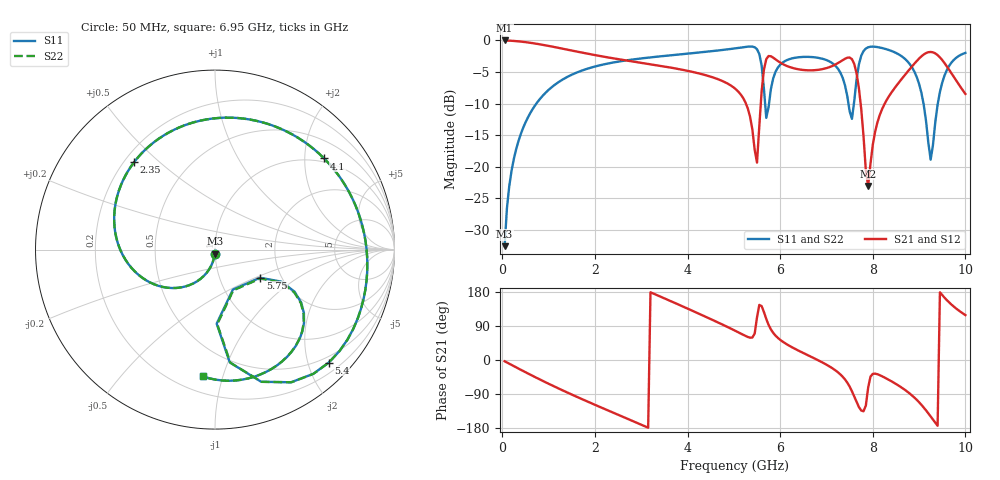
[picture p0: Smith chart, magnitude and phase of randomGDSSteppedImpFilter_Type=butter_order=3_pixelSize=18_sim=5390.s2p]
! freq	dB(S11)	phase(S11)	dB(S12)	phase(S12)
!  dB(S21)	phase(S21)	dB(S22)	phase(S22)
!S-par simulation data
#  GHz  S  DB  R 50
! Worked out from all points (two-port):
!   200 points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, 50 MHz to 10 GHz, reference 50 ohm
!   highest |S21| = -0.01 dB at 50 MHz (marker M1); lowest = -23.0 dB at 7.9 GHz (marker M2)
!   |S21| within 3 dB of the highest: start of sweep to 2.538 GHz; 8.982 GHz to 9.488 GHz (506.2 MHz wide, 5.48 % of centre) (the widest 2 of 4)
!   lowest |S11| = -32.6 dB at 50 MHz (marker M3), VSWR 1.05, Z = 49.8 - j2.34 ohm
!   |S11| at or under -10 dB: start of sweep to 736 MHz; 5.675 GHz to 5.76 GHz (84.63 MHz wide, 1.48 % of centre); 9.095 GHz to 9.404 GHz (308.8 MHz wide, 3.34 % of centre) (the widest 3 of 4)
!   |S22| runs from -32.6 to -1.0 dB; largest |S21 - S12| = 0
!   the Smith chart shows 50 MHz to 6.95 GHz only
!   S11 on the Smith chart (normalised r, x): 50 MHz: 1.00, -0.05; 2.35 GHz: 0.24, +0.42; 4.1 GHz: 0.90, +2.47; 5.4 GHz: 0.38, -2.37; 5.75 GHz: 1.56, -0.54; 6.95 GHz: 0.30, -0.86
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0.05  -32.57 -93.3  -0.01 -3.3  -0.01 -3.3  -32.57 -93.3
0.5  -13.00 -122.7  -0.27 -32.2  -0.27 -32.2  -13.00 -122.7
1.75  -4.69 164.6  -1.97 -104.8  -1.97 -104.8  -4.69 164.5
2.35  -3.56 132.7  -2.78 -136.6  -2.78 -136.6  -3.56 132.7
3.4  -2.53 77.6  -4.01 168.1  -4.01 168.1  -2.53 77.5
4.1  -2.02 39.9  -4.97 130.2  -4.97 130.2  -2.02 39.8
5.05  -1.24 -15.1  -7.78 76.0  -7.78 76.0  -1.24 -15.1
5.4  -0.98 -44.8  -14.10 59.4  -14.10 59.4  -0.98 -44.8
5.5  -1.39 -60.2  -19.34 112.6  -19.34 112.6  -1.38 -60.0
5.65  -7.69 -88.7  -4.62 126.6  -4.62 126.6  -7.62 -88.3
5.75  -10.57 -31.9  -2.47 92.7  -2.47 92.7  -10.48 -32.7
6  -3.85 -39.4  -3.50 53.3  -3.50 53.3  -3.85 -39.7
6.7  -2.64 -81.3  -4.73 6.6  -4.73 6.6  -2.64 -81.5
6.95  -2.98 -95.3  -4.48 -8.9  -4.48 -8.9  -2.98 -95.5
7.35  -5.91 -120.6  -3.13 -44.1  -3.13 -44.1  -5.91 -120.7
7.6  -9.60 -64.6  -3.72 -96.5  -3.72 -96.5  -9.56 -65.0
7.9  -1.08 -99.8  -23.04 -73.2  -23.04 -73.2  -1.09 -100.2
8.35  -1.52 -137.9  -8.84 -52.5  -8.84 -52.5  -1.53 -138.3
8.95  -5.81 175.4  -3.25 -105.1  -3.25 -105.1  -5.84 174.5
9.25  -18.87 -151.7  -1.82 -149.0  -1.82 -149.0  -19.65 -151.9
9.5  -6.67 -110.7  -3.11 171.3  -3.11 171.3  -6.70 -109.8
10  -1.97 -154.2  -8.47 118.5  -8.47 118.5  -1.98 -153.9
